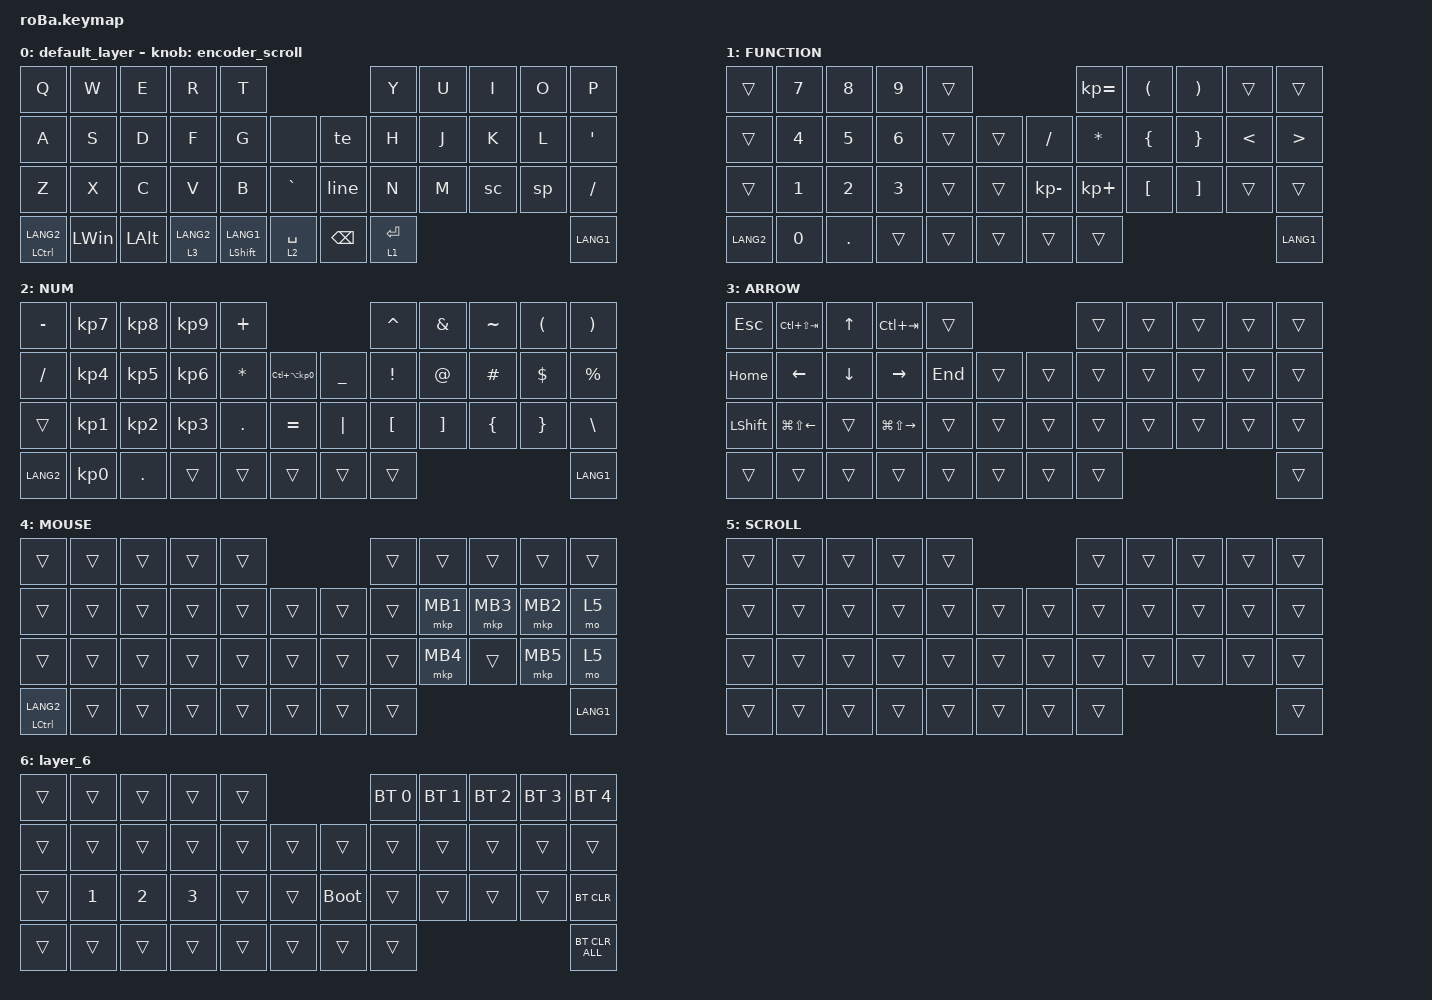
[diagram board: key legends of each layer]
#include <behaviors.dtsi>
#include <dt-bindings/zmk/bt.h>
#include <dt-bindings/zmk/keys.h>
#include <dt-bindings/zmk/pointing.h>

&mt {
    flavor = "balanced";
    quick-tap-ms = <0>;
};

&trackball {
    automouse-layer = <4>;
    scroll-layers = <5>;

    // arrows {
    //     layers = <3>;
    //     bindings =
    //         <&kp RIGHT_ARROW>,
    //         <&kp LEFT_ARROW>,
    //         <&kp UP_ARROW>,
    //         <&kp DOWN_ARROW>;
    //     tick = <10>;
    //     wait-ms = <5>;
    //     tap-ms = <5>;
    // };
};

/ {
    combos {
        compatible = "zmk,combos";

        tab {
            bindings = <&kp TAB>;
            key-positions = <11 12>;
        };

        shift_tab {
            bindings = <&kp LS(TAB)>;
            key-positions = <12 13>;
        };

        muhennkann {
            bindings = <&to_layer_0 INT_MUHENKAN>;
            key-positions = <11 10>;
        };

        double_quotation {
            bindings = <&kp DOUBLE_QUOTES>;
            key-positions = <20 21>;
        };

        eq {
            bindings = <&kp EQUAL>;
            key-positions = <24 25>;
        };

        esc {
            bindings = <&kp ESC>;
            key-positions = <1 2>;
        };
    };

    macros {
        to_layer_0: to_layer_0 {
            compatible = "zmk,behavior-macro-one-param";
            #binding-cells = <1>;
            bindings = <&to 0 &macro_param_1to1 &kp MACRO_PLACEHOLDER>;
            label = "TO_LAYER_0";
        };
    };

    behaviors {
        encoder_scroll: encoder_scroll {
            compatible = "zmk,behavior-sensor-rotate";
            #sensor-binding-cells = <0>;

            // Emit 16 high-resolution units (one wheel step) per 16 ms tick.

            tap-ms = <24>;
            bindings = <&msc MOVE_Y(-1024)>, <&msc MOVE_Y(1024)>;
        };

        lt_to_layer_0: lt_to_layer_0 {
            compatible = "zmk,behavior-hold-tap";
            label = "LAYER_TAP_TO_0";
            bindings = <&mo>, <&to_layer_0>;

            #binding-cells = <2>;
            tapping-term-ms = <200>;
        };

        te: te {
            compatible = "zmk,behavior-mod-morph";
            label = "TE";
            bindings = <&kp TILDE>, <&kp KP_EQUAL>;

            #binding-cells = <0>;
            mods = <(MOD_LSFT)>;
        };

        sc: sc {
            compatible = "zmk,behavior-mod-morph";
            label = "SC";
            bindings = <&kp COMMA>, <&kp SEMICOLON>;

            #binding-cells = <0>;
            mods = <(MOD_LSFT)>;
        };

        sp: sp {
            compatible = "zmk,behavior-mod-morph";
            label = "SP";
            bindings = <&kp PERIOD>, <&kp COLON>;

            #binding-cells = <0>;
            mods = <(MOD_LSFT)>;
        };

        sb: sb {
            compatible = "zmk,behavior-mod-morph";
            label = "SB";
            bindings = <&kp SPACE>, <&kp BACKSPACE>;

            #binding-cells = <0>;
            mods = <(MOD_LSFT)>;
        };

        qe: qe {
            compatible = "zmk,behavior-mod-morph";
            label = "QE";
            bindings = <&kp QUESTION>, <&kp EXCLAMATION>;

            #binding-cells = <0>;
            mods = <(MOD_LSFT)>;
        };

        line: line {
            compatible = "zmk,behavior-mod-morph";
            label = "LINE";
            bindings = <&kp MINUS>, <&kp PIPE>;

            #binding-cells = <0>;
            mods = <(MOD_LSFT)>;
        };

        SBlash: SBlash {
            compatible = "zmk,behavior-mod-morph";
            label = "SBLASH";
            bindings = <&kp KP_SLASH>, <&kp BACKSLASH>;

            #binding-cells = <0>;
            mods = <(MOD_LSFT)>;
        };
    };

    keymap {
        compatible = "zmk,keymap";

        default_layer {
            bindings = <
&kp Q            &kp W         &kp E         &kp R        &kp T                                             &kp Y        &kp U  &kp I  &kp O  &kp P
&kp A            &kp S         &kp D         &kp F        &kp G             &none            &te            &kp H        &kp J  &kp K  &kp L  &kp SINGLE_QUOTE
&kp Z            &kp X         &kp C         &kp V        &kp B             &kp GRAVE        &line          &kp N        &kp M  &sc    &sp    &kp SLASH
&mt LCTRL LANG2  &kp LEFT_WIN  &kp LEFT_ALT  &lt 3 LANG2  &mt LSHIFT LANG1  &lt 2 SPACE      &kp BACKSPACE  &lt 1 ENTER                       &kp LANG1
            >;

            sensor-bindings = <&encoder_scroll>;
        };

        FUNCTION {
            bindings = <
&trans     &kp NUMBER_7  &kp NUMBER_8  &kp NUMBER_9  &trans                            &kp KP_EQUAL  &kp LEFT_PARENTHESIS  &kp RIGHT_PARENTHESIS  &trans         &trans
&trans     &kp NUMBER_4  &kp NUMBER_5  &kp NUMBER_6  &trans  &trans      &kp SLASH     &kp ASTERISK  &kp LEFT_BRACE        &kp RIGHT_BRACE        &kp LESS_THAN  &kp GREATER_THAN
&trans     &kp NUMBER_1  &kp NUMBER_2  &kp NUMBER_3  &trans  &trans      &kp KP_MINUS  &kp KP_PLUS   &kp LEFT_BRACKET      &kp RIGHT_BRACKET      &trans         &trans
&kp LANG2  &kp N0        &kp PERIOD    &trans        &trans  &trans      &trans        &trans                                                                    &kp LANG1
            >;
        };

        NUM {
            bindings = <
&kp MINUS  &kp KP_NUMBER_7  &kp KP_NUMBER_8  &kp KP_NUMBER_9  &kp PLUS                                                   &kp CARET         &kp AMPERSAND      &kp TILDE       &kp LEFT_PARENTHESIS  &kp RIGHT_PARENTHESIS
&kp SLASH  &kp KP_NUMBER_4  &kp KP_NUMBER_5  &kp KP_NUMBER_6  &kp ASTERISK  &kp LC(LA(KP_NUMBER_0))      &kp UNDERSCORE  &kp EXCLAMATION   &kp AT_SIGN        &kp HASH        &kp DOLLAR            &kp PERCENT
&trans     &kp KP_NUMBER_1  &kp KP_NUMBER_2  &kp KP_NUMBER_3  &kp PERIOD    &kp EQUAL                    &kp PIPE        &kp LEFT_BRACKET  &kp RIGHT_BRACKET  &kp LEFT_BRACE  &kp RIGHT_BRACE       &kp BACKSLASH
&kp LANG2  &kp KP_NUMBER_0  &kp PERIOD       &trans           &trans        &trans                       &trans          &trans                                                                     &kp LANG1
            >;
        };

        ARROW {
            bindings = <
&kp ESCAPE      &kp LC(LS(TAB))         &kp UP_ARROW    &kp LC(TAB)              &trans                       &trans  &trans  &trans  &trans  &trans
&kp HOME        &kp LEFT_ARROW          &kp DOWN_ARROW  &kp RIGHT_ARROW          &kp END  &trans      &trans  &trans  &trans  &trans  &trans  &trans
&kp LEFT_SHIFT  &kp LG(LS(LEFT_ARROW))  &trans          &kp LG(LS(RIGHT_ARROW))  &trans   &trans      &trans  &trans  &trans  &trans  &trans  &trans
&trans          &trans                  &trans          &trans                   &trans   &trans      &trans  &trans                          &trans
            >;
        };

        MOUSE {
            bindings = <
&trans           &trans  &trans  &trans  &trans                      &trans  &trans    &trans    &trans    &trans
&trans           &trans  &trans  &trans  &trans  &trans      &trans  &trans  &mkp MB1  &mkp MB3  &mkp MB2  &mo 5
&trans           &trans  &trans  &trans  &trans  &trans      &trans  &trans  &mkp MB4  &trans    &mkp MB5  &mo 5
&mt LCTRL LANG2  &trans  &trans  &trans  &trans  &trans      &trans  &trans                                &kp LANG1
            >;
        };

        SCROLL {
            bindings = <
&trans  &trans  &trans  &trans  &trans                      &trans  &trans  &trans  &trans  &trans
&trans  &trans  &trans  &trans  &trans  &trans      &trans  &trans  &trans  &trans  &trans  &trans
&trans  &trans  &trans  &trans  &trans  &trans      &trans  &trans  &trans  &trans  &trans  &trans
&trans  &trans  &trans  &trans  &trans  &trans      &trans  &trans                          &trans
            >;
        };

        layer_6 {
            bindings = <
&trans  &trans        &trans        &trans        &trans                           &bt BT_SEL 0  &bt BT_SEL 1  &bt BT_SEL 2  &bt BT_SEL 3  &bt BT_SEL 4
&trans  &trans        &trans        &trans        &trans  &trans      &trans       &trans        &trans        &trans        &trans        &trans
&trans  &kp NUMBER_1  &kp NUMBER_2  &kp NUMBER_3  &trans  &trans      &bootloader  &trans        &trans        &trans        &trans        &bt BT_CLR
&trans  &trans        &trans        &trans        &trans  &trans      &trans       &trans                                                  &bt BT_CLR_ALL
            >;
        };
    };
};
